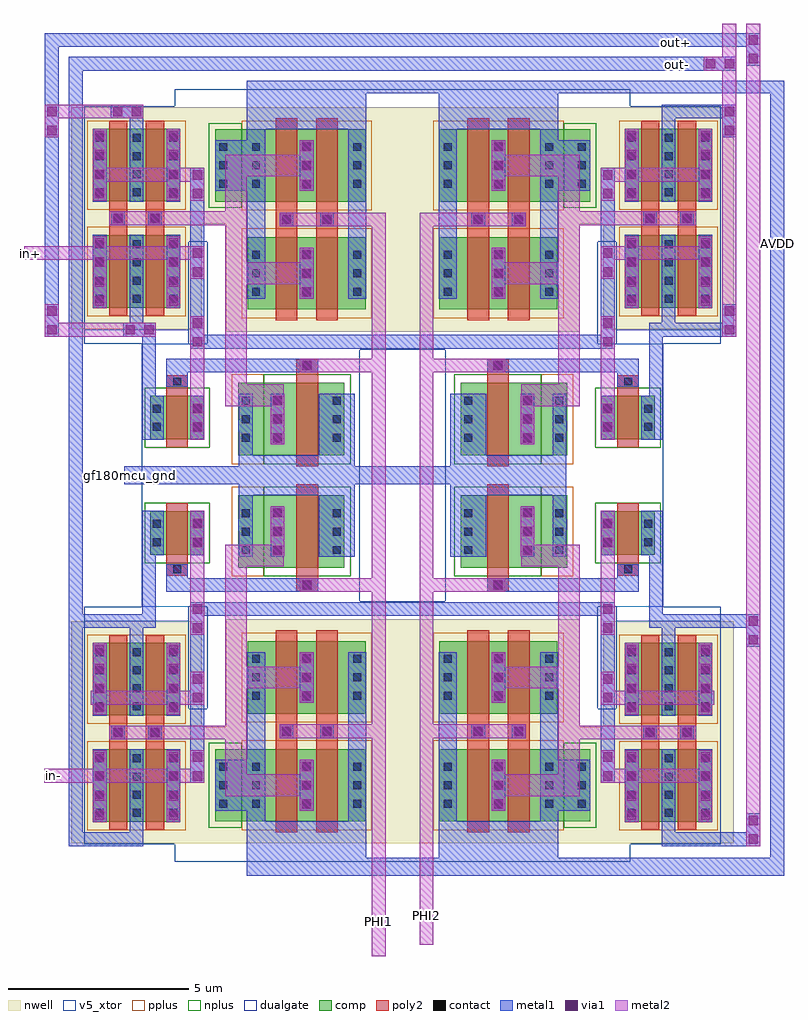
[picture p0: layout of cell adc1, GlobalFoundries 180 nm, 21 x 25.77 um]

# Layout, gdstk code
from math import pi, radians
import gdstk
lib = gdstk.Library(unit=1e-6, precision=5e-09)
def R(c, l, rs):  # rectangles x0, y0, x1, y1
    for r in rs: c.add(gdstk.rectangle(r[:2], r[2:], *l))
def A(c, l, x, y, w, h, nx, ny, dx, dy):  # array of equal rectangles
    R(c, l, [(x+i*dx, y+j*dy, x+i*dx+w, y+j*dy+h) for i in range(nx) for j in range(ny)])
nwell = (21, 0)
comp = (22, 0)
poly2 = (30, 0)
pplus = (31, 0)
nplus = (32, 0)
contact = (33, 0)
metal1 = (34, 0)
via1 = (35, 0)
metal2 = (36, 0)
dualgate = (55, 0)
v5_xtor = (112, 1)

pfet_2_14 = lib.new_cell('pfet$2$14')
R(pfet_2_14, nwell, [(-1.07,-0.61,3.41,2.61)])
R(pfet_2_14, comp, [(-0.46,0,0,2), (0,0,2.34,2), (2.34,0,2.8,2)])
R(pfet_2_14, poly2, [(0.31,-0.68,0.91,-0.3), (1.43,-0.68,2.03,-0.3), (0.31,-0.3,0.91,2.3), (1.43,-0.3,2.03,2.3)])
R(pfet_2_14, pplus, [(-0.63,-0.24,2.97,2.24)])
A(pfet_2_14, contact, -0.34, 0.38, 0.22, 0.22, 3, 3, 1.4, 0.51)
R(pfet_2_14, contact, [(0.5,-0.6,0.72,-0.38), (1.62,-0.6,1.84,-0.38)])
A(pfet_2_14, metal1, -0.42, 0.3, 0.38, 1.4, 3, 1, 1.4, 0)
R(pfet_2_14, metal1, [(0.42,-0.68,0.8,-0.3), (1.54,-0.68,1.92,-0.3)])
R(pfet_2_14, dualgate, [(-1.57,-1.11,3.91,3.11), (-0.88,-1.09,3.22,2.71)])
R(pfet_2_14, v5_xtor, [(-1.57,-1.11,3.91,3.11), (-0.88,-1.09,3.22,2.71)])

nfet_4_9 = lib.new_cell('nfet$4$9')
R(nfet_4_9, comp, [(-0.435,-0.66,-0.015,1.34), (-0.015,-0.66,1.205,1.34), (1.205,-0.66,1.625,1.34)])
R(nfet_4_9, poly2, [(0.295,-0.96,0.895,1.64), (0.295,1.64,0.895,2)])
R(nfet_4_9, nplus, [(-0.605,-0.9,1.795,1.58)])
A(nfet_4_9, contact, -0.335, -0.28, 0.22, 0.22, 1, 3, 0, 0.51)
A(nfet_4_9, contact, 1.305, -0.28, 0.22, 0.22, 1, 3, 0, 0.51)
R(nfet_4_9, contact, [(0.485,1.71,0.705,1.93)])
R(nfet_4_9, metal1, [(-0.415,-0.36,-0.035,1.04), (1.225,-0.36,1.605,1.04), (-2.84,2.29,3.82,2.67)])
R(nfet_4_9, dualgate, [(-0.855,-1.37,2.045,2.42)])
R(nfet_4_9, v5_xtor, [(-0.855,-1.37,5.165,2.42)])

pfet_3_2_6 = lib.new_cell('pfet$3$2$6')
R(pfet_3_2_6, nwell, [(-0.6,-0.6,1.98,2.6)])
R(pfet_3_2_6, comp, [(0,0,1.38,2)])
R(pfet_3_2_6, poly2, [(0.44,-0.22,0.94,2.22)])
R(pfet_3_2_6, pplus, [(-0.16,-0.23,1.54,2.23)])
A(pfet_3_2_6, contact, 0.07, 0.14, 0.22, 0.22, 1, 4, 0, 0.5)
A(pfet_3_2_6, contact, 1.09, 0.14, 0.22, 0.22, 1, 4, 0, 0.5)
R(pfet_3_2_6, metal1, [(-0.01,-0.01,0.37,2.01), (1.01,-0.01,1.39,2.01)])
R(pfet_3_2_6, dualgate, [(-0.24,-0.62,1.62,2.62)])
R(pfet_3_2_6, v5_xtor, [(-0.24,-0.62,1.62,2.62)])

nfet_2_2_5 = lib.new_cell('nfet$2$2$5')
R(nfet_2_2_5, comp, [(0,0,1.48,1.2)])
R(nfet_2_2_5, poly2, [(0.44,-0.22,1.04,1.42)])
R(nfet_2_2_5, nplus, [(-0.16,-0.23,1.64,1.43)])
R(nfet_2_2_5, contact, [(0.07,0.24,0.29,0.46), (1.19,0.24,1.41,0.46), (0.07,0.74,0.29,0.96), (1.19,0.74,1.41,0.96)])
R(nfet_2_2_5, metal1, [(-0.01,-0.01,0.37,1.21), (1.11,-0.01,1.49,1.21)])
R(nfet_2_2_5, dualgate, [(-0.24,-0.62,1.72,1.82)])
R(nfet_2_2_5, v5_xtor, [(-0.24,-0.62,1.72,1.82)])

rrao_cic_bms_afe_iadc_tg = lib.new_cell('rrao_cic_bms_afe_iadc_tg_switch$2$5')
R(rrao_cic_bms_afe_iadc_tg, nwell, [(-10.645,-4.88,-9.645,-1.66), (-10.645,-4.88,-9.645,-1.66)])
R(rrao_cic_bms_afe_iadc_tg, comp, [(-11.87,-11.28,-10.99,-9.28), (-11.255,-4.27,-10.355,-2.27), (-11.255,-4.27,-10.355,-2.27)])
R(rrao_cic_bms_afe_iadc_tg, poly2, [(-9.605,-9.42,-9.005,-9.06), (-8.945,-4.98,-8.445,-4.48), (-7.925,-4.98,-7.425,-4.48)])
R(rrao_cic_bms_afe_iadc_tg, pplus, [(-11.7,-11.52,-10.82,-9.04)])
R(rrao_cic_bms_afe_iadc_tg, nplus, [(-11.085,-4.44,-10.185,-2.1), (-11.085,-4.44,-10.185,-2.1)])
A(rrao_cic_bms_afe_iadc_tg, contact, -11.31, -10.9, 0.22, 0.22, 1, 3, 0, 0.51)
R(rrao_cic_bms_afe_iadc_tg, contact, [(-9.415,-9.35,-9.195,-9.13), (-8.805,-4.84,-8.585,-4.62), (-8.805,-4.84,-8.585,-4.62), (-7.785,-4.84,-7.565,-4.62), (-7.785,-4.84,-7.565,-4.62), (-10.695,-3.89,-10.475,-3.67), (-10.695,-3.89,-10.475,-3.67), (-10.695,-3.38,-10.475,-3.16), (-10.695,-3.38,-10.475,-3.16), (-10.695,-2.87,-10.475,-2.65), (-10.695,-2.87,-10.475,-2.65)])
R(rrao_cic_bms_afe_iadc_tg, metal1, [(-14.22,-11.58,-13.22,-9.58), (-13.22,-11.58,-11.01,-11.28), (-11.39,-11.28,-11.01,-10.98), (-11.39,-10.98,-11.01,-9.58), (-8.72,-10.85,-8.34,-7.62), (-11.375,-10.62,-10.995,-10.32), (-9.605,-9.38,-9.005,-8.61), (-13.2,-8.99,-9.005,-8.61), (-13.6,-8.33,-12.7,-7.95), (-10.055,-8.33,-9.675,-7.43), (-10.055,-8.33,-9.675,-3.89), (-8.72,-8,-6.315,-7.62), (-8.375,-7.995,-7.995,-5.19), (-14.535,-6.95,-14.035,-1.27), (-14.535,-6.95,-14.035,-1.27), (-11.735,-6.95,-11.235,-1.27), (-11.735,-6.95,-11.235,-1.27), (-10.055,-6.4,-9.675,-5.5), (-8.885,-4.92,-8.505,-4.54), (-8.885,-4.92,-8.505,-4.54), (-7.865,-4.92,-7.485,-4.54), (-7.865,-4.92,-7.485,-4.54), (-8.375,-4.27,-7.995,-1.59), (-10.055,-4.24,-9.675,-3.34), (-11.235,-3.97,-10.355,-2.57), (-11.235,-3.97,-10.355,-2.57), (-14.535,-2.27,-11.235,-1.27), (-14.535,-2.27,-11.235,-1.27), (-8.375,-1.97,-6.315,-1.59)])
A(rrao_cic_bms_afe_iadc_tg, via1, -12.21, -10.93, 0.26, 0.26, 1, 3, 0, 0.52)
R(rrao_cic_bms_afe_iadc_tg, via1, [(-10,-10.63,-9.74,-10.37), (-10,-10.11,-9.74,-9.85), (-13.03,-8.93,-12.77,-8.67), (-9.995,-8.27,-9.735,-8.01), (-9.995,-7.75,-9.735,-7.49), (-9.335,-7.15,-9.075,-6.89), (-7.295,-7.15,-7.035,-6.89), (-13.015,-6.9,-12.755,-6.64), (-13.015,-6.9,-12.755,-6.64), (-9.335,-6.62,-9.075,-6.36), (-7.295,-6.62,-7.035,-6.36), (-13.015,-6.38,-12.755,-6.12), (-13.015,-6.38,-12.755,-6.12), (-9.995,-6.34,-9.735,-6.08), (-9.335,-6.07,-9.075,-5.81), (-7.295,-6.07,-7.035,-5.81), (-13.015,-5.86,-12.755,-5.6), (-13.015,-5.86,-12.755,-5.6), (-9.995,-5.82,-9.735,-5.56), (-9.335,-5.54,-9.075,-5.28), (-7.295,-5.54,-7.035,-5.28), (-13.575,-4.89,-13.315,-4.63), (-13.575,-4.89,-13.315,-4.63), (-12.455,-4.89,-12.195,-4.63), (-12.455,-4.89,-12.195,-4.63), (-8.825,-4.86,-8.565,-4.6), (-7.805,-4.86,-7.545,-4.6), (-9.995,-4.18,-9.735,-3.92), (-9.335,-4.18,-9.075,-3.92), (-7.295,-4.18,-7.035,-3.92), (-13.015,-3.92,-12.755,-3.66), (-13.015,-3.92,-12.755,-3.66), (-9.995,-3.66,-9.735,-3.4), (-9.335,-3.65,-9.075,-3.39), (-7.295,-3.65,-7.035,-3.39), (-13.015,-3.4,-12.755,-3.14), (-13.015,-3.4,-12.755,-3.14), (-9.335,-3.1,-9.075,-2.84), (-7.295,-3.1,-7.035,-2.84), (-13.015,-2.88,-12.755,-2.62), (-13.015,-2.88,-12.755,-2.62), (-9.335,-2.57,-9.075,-2.31), (-7.295,-2.57,-7.035,-2.31)])
R(rrao_cic_bms_afe_iadc_tg, metal2, [(-12.27,-10.98,-11.89,-9.58), (-10.055,-10.85,-9.675,-7.95), (-12.255,-9.92,-10.635,-9.32), (-11.235,-9.92,-10.635,-2.97), (-11.235,-9.92,-10.635,-2.97), (-15.065,-8.99,-12.695,-8.61), (-15.065,-8.99,-14.685,-4.57), (-15.065,-8.33,-14.685,-4.57), (-10.055,-8.33,-9.675,-7.43), (-6.695,-8,-6.315,0.645), (-9.395,-7.21,-9.015,-5.22), (-7.355,-7.21,-6.975,-5.22), (-13.075,-6.95,-12.695,-5.55), (-13.075,-6.95,-12.695,-5.55), (-13.075,-6.55,-10.635,-5.95), (-13.075,-6.55,-10.635,-5.95), (-10.055,-6.4,-9.675,-5.5), (-10.005,-5.88,-6.975,-5.5), (-15.065,-4.95,-12.135,-4.57), (-15.065,-4.95,-12.135,-4.57), (-15.065,-4.95,-12.135,-4.57), (-15.065,-4.95,-12.135,-4.57), (-11.235,-4.92,-7.425,-4.54), (-10.055,-4.24,-9.675,-3.34), (-9.395,-4.24,-9.015,-2.25), (-7.355,-4.24,-6.975,-2.25), (-13.075,-3.97,-12.695,-2.57), (-13.075,-3.97,-12.695,-2.57), (-10.055,-3.72,-6.975,-3.34), (-13.075,-3.57,-10.635,-2.97), (-13.075,-3.57,-10.635,-2.97)])
R(rrao_cic_bms_afe_iadc_tg, dualgate, [(-11.45,-11.99,-10.16,-9.02), (-11.45,-11.99,-8.33,-8.2), (-11.435,-11.33,-10.145,-8.36), (-9.625,-8.2,-6.745,-7.82), (-10.145,-5.38,-9.245,-1.16), (-10.145,-5.38,-9.245,-1.16)])
R(rrao_cic_bms_afe_iadc_tg, v5_xtor, [(-11.45,-11.99,-10.16,-9.02), (-11.435,-11.33,-10.145,-8.36), (-10.145,-5.38,-9.245,-1.16), (-10.145,-5.38,-9.245,-1.16)])
rrao_cic_bms_afe_iadc_tg.add(gdstk.Reference(pfet_2_14, (-14.055,-5.25), x_reflection=True))
rrao_cic_bms_afe_iadc_tg.add(gdstk.Reference(pfet_2_14, (-14.055,-4.27)))
rrao_cic_bms_afe_iadc_tg.add(gdstk.Reference(nfet_4_9, (-13.495,-10.62)))
rrao_cic_bms_afe_iadc_tg.add(gdstk.Reference(pfet_3_2_6, (-9.385,-7.2)))
rrao_cic_bms_afe_iadc_tg.add(gdstk.Reference(pfet_3_2_6, (-8.365,-7.2)))
rrao_cic_bms_afe_iadc_tg.add(gdstk.Reference(pfet_3_2_6, (-9.385,-4.26)))
rrao_cic_bms_afe_iadc_tg.add(gdstk.Reference(pfet_3_2_6, (-8.365,-4.26)))
rrao_cic_bms_afe_iadc_tg.add(gdstk.Reference(nfet_2_2_5, (-10.045,-10.84)))

pfet_4_13 = lib.new_cell('pfet$4$13')
R(pfet_4_13, nwell, [(-1.07,-0.61,3.41,2.61)])
R(pfet_4_13, comp, [(-0.46,0,0,2), (0,0,2.34,2), (2.34,0,2.8,2)])
R(pfet_4_13, poly2, [(0.31,-0.68,0.91,-0.3), (1.43,-0.68,2.03,-0.3), (0.31,-0.3,0.91,2.3), (1.43,-0.3,2.03,2.3)])
R(pfet_4_13, pplus, [(-0.63,-0.24,2.97,2.24)])
A(pfet_4_13, contact, -0.34, 0.38, 0.22, 0.22, 3, 3, 1.4, 0.51)
R(pfet_4_13, contact, [(0.5,-0.6,0.72,-0.38), (1.62,-0.6,1.84,-0.38)])
A(pfet_4_13, metal1, -0.42, 0.3, 0.38, 1.4, 3, 1, 1.4, 0)
R(pfet_4_13, metal1, [(0.42,-0.68,0.8,-0.3), (1.54,-0.68,1.92,-0.3)])
R(pfet_4_13, dualgate, [(-1.57,-1.11,3.91,3.11), (-0.88,-1.09,3.22,2.71)])
R(pfet_4_13, v5_xtor, [(-1.57,-1.11,3.91,3.11), (-0.88,-1.09,3.22,2.71)])

nfet_5_7 = lib.new_cell('nfet$5$7')
R(nfet_5_7, comp, [(-0.435,-0.66,-0.015,1.34), (-0.015,-0.66,1.205,1.34), (1.205,-0.66,1.625,1.34)])
R(nfet_5_7, poly2, [(0.295,-0.96,0.895,1.64), (0.295,1.64,0.895,2)])
R(nfet_5_7, nplus, [(-0.605,-0.9,1.795,1.58)])
A(nfet_5_7, contact, -0.335, -0.28, 0.22, 0.22, 1, 3, 0, 0.51)
A(nfet_5_7, contact, 1.305, -0.28, 0.22, 0.22, 1, 3, 0, 0.51)
R(nfet_5_7, contact, [(0.485,1.71,0.705,1.93)])
R(nfet_5_7, metal1, [(-0.415,-0.36,-0.035,1.04), (1.225,-0.36,1.605,1.04), (-2.84,2.29,3.82,2.67)])
R(nfet_5_7, dualgate, [(-0.855,-1.37,2.045,2.42)])
R(nfet_5_7, v5_xtor, [(-0.855,-1.37,5.165,2.42)])

pfet_3_3_5 = lib.new_cell('pfet$3$3$5')
R(pfet_3_3_5, nwell, [(-0.6,-0.6,1.98,2.6)])
R(pfet_3_3_5, comp, [(0,0,1.38,2)])
R(pfet_3_3_5, poly2, [(0.44,-0.22,0.94,2.22)])
R(pfet_3_3_5, pplus, [(-0.16,-0.23,1.54,2.23)])
A(pfet_3_3_5, contact, 0.07, 0.14, 0.22, 0.22, 1, 4, 0, 0.5)
A(pfet_3_3_5, contact, 1.09, 0.14, 0.22, 0.22, 1, 4, 0, 0.5)
R(pfet_3_3_5, metal1, [(-0.01,-0.01,0.37,2.01), (1.01,-0.01,1.39,2.01)])
R(pfet_3_3_5, dualgate, [(-0.24,-0.62,1.62,2.62)])
R(pfet_3_3_5, v5_xtor, [(-0.24,-0.62,1.62,2.62)])

nfet_2_3_6 = lib.new_cell('nfet$2$3$6')
R(nfet_2_3_6, comp, [(0,0,1.48,1.2)])
R(nfet_2_3_6, poly2, [(0.44,-0.22,1.04,1.42)])
R(nfet_2_3_6, nplus, [(-0.16,-0.23,1.64,1.43)])
R(nfet_2_3_6, contact, [(0.07,0.24,0.29,0.46), (1.19,0.24,1.41,0.46), (0.07,0.74,0.29,0.96), (1.19,0.74,1.41,0.96)])
R(nfet_2_3_6, metal1, [(-0.01,-0.01,0.37,1.21), (1.11,-0.01,1.49,1.21)])
R(nfet_2_3_6, dualgate, [(-0.24,-0.62,1.72,1.82)])
R(nfet_2_3_6, v5_xtor, [(-0.24,-0.62,1.72,1.82)])

c_rrao_cic_bms_afe_iadc_tg = lib.new_cell('rrao_cic_bms_afe_iadc_tg_switch$3$5')
R(c_rrao_cic_bms_afe_iadc_tg, nwell, [(-10.645,-4.88,-9.645,-1.66), (-10.645,-4.88,-9.645,-1.66)])
R(c_rrao_cic_bms_afe_iadc_tg, comp, [(-11.87,-11.28,-10.99,-9.28), (-11.255,-4.27,-10.355,-2.27), (-11.255,-4.27,-10.355,-2.27)])
R(c_rrao_cic_bms_afe_iadc_tg, poly2, [(-9.605,-9.42,-9.005,-9.06), (-8.945,-4.98,-8.445,-4.48), (-7.925,-4.98,-7.425,-4.48)])
R(c_rrao_cic_bms_afe_iadc_tg, pplus, [(-11.7,-11.52,-10.82,-9.04)])
R(c_rrao_cic_bms_afe_iadc_tg, nplus, [(-11.085,-4.44,-10.185,-2.1), (-11.085,-4.44,-10.185,-2.1)])
A(c_rrao_cic_bms_afe_iadc_tg, contact, -11.31, -10.9, 0.22, 0.22, 1, 3, 0, 0.51)
R(c_rrao_cic_bms_afe_iadc_tg, contact, [(-9.415,-9.35,-9.195,-9.13), (-8.805,-4.84,-8.585,-4.62), (-8.805,-4.84,-8.585,-4.62), (-7.785,-4.84,-7.565,-4.62), (-7.785,-4.84,-7.565,-4.62), (-10.695,-3.89,-10.475,-3.67), (-10.695,-3.89,-10.475,-3.67), (-10.695,-3.38,-10.475,-3.16), (-10.695,-3.38,-10.475,-3.16), (-10.695,-2.87,-10.475,-2.65), (-10.695,-2.87,-10.475,-2.65)])
R(c_rrao_cic_bms_afe_iadc_tg, metal1, [(-14.22,-11.58,-13.22,-9.58), (-13.22,-11.58,-11.01,-11.28), (-11.39,-11.28,-11.01,-10.98), (-11.39,-10.98,-11.01,-9.58), (-8.72,-10.85,-8.34,-7.62), (-11.375,-10.62,-10.995,-10.32), (-9.605,-9.38,-9.005,-8.61), (-13.2,-8.99,-9.005,-8.61), (-13.6,-8.33,-12.7,-7.95), (-10.055,-8.33,-9.675,-7.43), (-10.055,-8.33,-9.675,-3.89), (-8.72,-8,-5.655,-7.62), (-8.375,-7.995,-7.995,-5.19), (-14.535,-6.95,-14.035,-1.27), (-14.535,-6.95,-14.035,-1.27), (-11.735,-6.95,-11.235,-1.27), (-11.735,-6.95,-11.235,-1.27), (-10.055,-6.4,-9.675,-5.5), (-8.885,-4.92,-8.505,-4.54), (-8.885,-4.92,-8.505,-4.54), (-7.865,-4.92,-7.485,-4.54), (-7.865,-4.92,-7.485,-4.54), (-8.375,-4.27,-7.995,-1.59), (-10.055,-4.24,-9.675,-3.34), (-11.235,-3.97,-10.355,-2.57), (-11.235,-3.97,-10.355,-2.57), (-14.535,-2.27,-11.235,-1.27), (-14.535,-2.27,-11.235,-1.27), (-8.375,-1.97,-5.655,-1.59)])
A(c_rrao_cic_bms_afe_iadc_tg, via1, -12.21, -10.93, 0.26, 0.26, 1, 3, 0, 0.52)
R(c_rrao_cic_bms_afe_iadc_tg, via1, [(-10,-10.63,-9.74,-10.37), (-10,-10.11,-9.74,-9.85), (-13.03,-8.93,-12.77,-8.67), (-9.995,-8.27,-9.735,-8.01), (-9.995,-7.75,-9.735,-7.49), (-9.335,-7.15,-9.075,-6.89), (-7.295,-7.15,-7.035,-6.89), (-13.015,-6.9,-12.755,-6.64), (-13.015,-6.9,-12.755,-6.64), (-9.335,-6.62,-9.075,-6.36), (-7.295,-6.62,-7.035,-6.36), (-13.015,-6.38,-12.755,-6.12), (-13.015,-6.38,-12.755,-6.12), (-9.995,-6.34,-9.735,-6.08), (-9.335,-6.07,-9.075,-5.81), (-7.295,-6.07,-7.035,-5.81), (-13.015,-5.86,-12.755,-5.6), (-13.015,-5.86,-12.755,-5.6), (-9.995,-5.82,-9.735,-5.56), (-9.335,-5.54,-9.075,-5.28), (-7.295,-5.54,-7.035,-5.28), (-13.575,-4.89,-13.315,-4.63), (-13.575,-4.89,-13.315,-4.63), (-12.455,-4.89,-12.195,-4.63), (-12.455,-4.89,-12.195,-4.63), (-8.825,-4.86,-8.565,-4.6), (-7.805,-4.86,-7.545,-4.6), (-9.995,-4.18,-9.735,-3.92), (-9.335,-4.18,-9.075,-3.92), (-7.295,-4.18,-7.035,-3.92), (-13.015,-3.92,-12.755,-3.66), (-13.015,-3.92,-12.755,-3.66), (-9.995,-3.66,-9.735,-3.4), (-9.335,-3.65,-9.075,-3.39), (-7.295,-3.65,-7.035,-3.39), (-13.015,-3.4,-12.755,-3.14), (-13.015,-3.4,-12.755,-3.14), (-9.335,-3.1,-9.075,-2.84), (-7.295,-3.1,-7.035,-2.84), (-13.015,-2.88,-12.755,-2.62), (-13.015,-2.88,-12.755,-2.62), (-9.335,-2.57,-9.075,-2.31), (-7.295,-2.57,-7.035,-2.31)])
R(c_rrao_cic_bms_afe_iadc_tg, metal2, [(-12.27,-10.98,-11.89,-9.58), (-10.055,-10.85,-9.675,-7.95), (-12.255,-9.92,-10.635,-9.32), (-11.235,-9.92,-10.635,-2.97), (-11.235,-9.92,-10.635,-2.97), (-15.065,-8.99,-12.695,-8.61), (-15.065,-8.99,-14.685,-4.57), (-15.065,-8.33,-14.685,-4.57), (-10.055,-8.33,-9.675,-7.43), (-9.395,-7.21,-9.015,-5.22), (-7.355,-7.21,-6.975,-5.22), (-13.075,-6.95,-12.695,-5.55), (-13.075,-6.95,-12.695,-5.55), (-13.075,-6.55,-10.635,-5.95), (-13.075,-6.55,-10.635,-5.95), (-10.055,-6.4,-9.675,-5.5), (-10.005,-5.88,-6.925,-5.5), (-15.065,-4.95,-12.135,-4.57), (-15.065,-4.95,-12.135,-4.57), (-15.065,-4.95,-12.135,-4.57), (-15.065,-4.95,-12.135,-4.57), (-11.235,-4.92,-7.425,-4.54), (-10.055,-4.24,-9.675,-3.34), (-9.395,-4.24,-9.015,-2.25), (-7.355,-4.24,-6.975,-2.25), (-13.075,-3.97,-12.695,-2.57), (-13.075,-3.97,-12.695,-2.57), (-10.055,-3.72,-6.975,-3.34), (-13.075,-3.57,-10.635,-2.97), (-13.075,-3.57,-10.635,-2.97)])
R(c_rrao_cic_bms_afe_iadc_tg, dualgate, [(-11.45,-11.99,-10.16,-9.02), (-11.45,-11.99,-8.33,-8.2), (-11.435,-11.33,-10.145,-8.36), (-9.625,-8.2,-6.745,-7.82), (-10.145,-5.38,-9.245,-1.16), (-10.145,-5.38,-9.245,-1.16)])
R(c_rrao_cic_bms_afe_iadc_tg, v5_xtor, [(-11.45,-11.99,-10.16,-9.02), (-11.435,-11.33,-10.145,-8.36), (-10.145,-5.38,-9.245,-1.16), (-10.145,-5.38,-9.245,-1.16)])
c_rrao_cic_bms_afe_iadc_tg.add(gdstk.Reference(pfet_4_13, (-14.055,-5.25), x_reflection=True))
c_rrao_cic_bms_afe_iadc_tg.add(gdstk.Reference(pfet_4_13, (-14.055,-4.27)))
c_rrao_cic_bms_afe_iadc_tg.add(gdstk.Reference(nfet_5_7, (-13.495,-10.62)))
c_rrao_cic_bms_afe_iadc_tg.add(gdstk.Reference(pfet_3_3_5, (-9.385,-7.2)))
c_rrao_cic_bms_afe_iadc_tg.add(gdstk.Reference(pfet_3_3_5, (-8.365,-7.2)))
c_rrao_cic_bms_afe_iadc_tg.add(gdstk.Reference(pfet_3_3_5, (-9.385,-4.26)))
c_rrao_cic_bms_afe_iadc_tg.add(gdstk.Reference(pfet_3_3_5, (-8.365,-4.26)))
c_rrao_cic_bms_afe_iadc_tg.add(gdstk.Reference(nfet_2_3_6, (-10.045,-10.84)))

pfet_1_12 = lib.new_cell('pfet$1$12')
R(pfet_1_12, nwell, [(-1.07,-0.61,3.41,2.61)])
R(pfet_1_12, comp, [(-0.46,0,0,2), (0,0,2.34,2), (2.34,0,2.8,2)])
R(pfet_1_12, poly2, [(0.31,-0.68,0.91,-0.3), (1.43,-0.68,2.03,-0.3), (0.31,-0.3,0.91,2.3), (1.43,-0.3,2.03,2.3)])
R(pfet_1_12, pplus, [(-0.63,-0.24,2.97,2.24)])
A(pfet_1_12, contact, -0.34, 0.38, 0.22, 0.22, 3, 3, 1.4, 0.51)
R(pfet_1_12, contact, [(0.5,-0.6,0.72,-0.38), (1.62,-0.6,1.84,-0.38)])
A(pfet_1_12, metal1, -0.42, 0.3, 0.38, 1.4, 3, 1, 1.4, 0)
R(pfet_1_12, metal1, [(0.42,-0.68,0.8,-0.3), (1.54,-0.68,1.92,-0.3)])
R(pfet_1_12, dualgate, [(-1.57,-1.11,3.91,3.11), (-0.88,-1.09,3.22,2.71)])
R(pfet_1_12, v5_xtor, [(-1.57,-1.11,3.91,3.11), (-0.88,-1.09,3.22,2.71)])

nfet_3_14 = lib.new_cell('nfet$3$14')
R(nfet_3_14, comp, [(-0.435,-0.66,-0.015,1.34), (-0.015,-0.66,1.205,1.34), (1.205,-0.66,1.625,1.34)])
R(nfet_3_14, poly2, [(0.295,-0.96,0.895,1.64), (0.295,1.64,0.895,2)])
R(nfet_3_14, nplus, [(-0.605,-0.9,1.795,1.58)])
A(nfet_3_14, contact, -0.335, -0.28, 0.22, 0.22, 1, 3, 0, 0.51)
A(nfet_3_14, contact, 1.305, -0.28, 0.22, 0.22, 1, 3, 0, 0.51)
R(nfet_3_14, contact, [(0.485,1.71,0.705,1.93)])
R(nfet_3_14, metal1, [(-0.415,-0.36,-0.035,1.04), (1.225,-0.36,1.605,1.04), (-2.84,2.29,3.82,2.67)])
R(nfet_3_14, dualgate, [(-0.855,-1.37,2.045,2.42)])
R(nfet_3_14, v5_xtor, [(-0.855,-1.37,5.165,2.42)])

pfet_3_1_8 = lib.new_cell('pfet$3$1$8')
R(pfet_3_1_8, nwell, [(-0.6,-0.6,1.98,2.6)])
R(pfet_3_1_8, comp, [(0,0,1.38,2)])
R(pfet_3_1_8, poly2, [(0.44,-0.22,0.94,2.22)])
R(pfet_3_1_8, pplus, [(-0.16,-0.23,1.54,2.23)])
A(pfet_3_1_8, contact, 0.07, 0.14, 0.22, 0.22, 1, 4, 0, 0.5)
A(pfet_3_1_8, contact, 1.09, 0.14, 0.22, 0.22, 1, 4, 0, 0.5)
R(pfet_3_1_8, metal1, [(-0.01,-0.01,0.37,2.01), (1.01,-0.01,1.39,2.01)])
R(pfet_3_1_8, dualgate, [(-0.24,-0.62,1.62,2.62)])
R(pfet_3_1_8, v5_xtor, [(-0.24,-0.62,1.62,2.62)])

nfet_2_1_7 = lib.new_cell('nfet$2$1$7')
R(nfet_2_1_7, comp, [(0,0,1.48,1.2)])
R(nfet_2_1_7, poly2, [(0.44,-0.22,1.04,1.42)])
R(nfet_2_1_7, nplus, [(-0.16,-0.23,1.64,1.43)])
R(nfet_2_1_7, contact, [(0.07,0.24,0.29,0.46), (1.19,0.24,1.41,0.46), (0.07,0.74,0.29,0.96), (1.19,0.74,1.41,0.96)])
R(nfet_2_1_7, metal1, [(-0.01,-0.01,0.37,1.21), (1.11,-0.01,1.49,1.21)])
R(nfet_2_1_7, dualgate, [(-0.24,-0.62,1.72,1.82)])
R(nfet_2_1_7, v5_xtor, [(-0.24,-0.62,1.72,1.82)])

c_rrao_cic_bms_afe_iadc_tg_ = lib.new_cell('rrao_cic_bms_afe_iadc_tg_switch$1$6')
R(c_rrao_cic_bms_afe_iadc_tg_, nwell, [(-10.645,-4.88,-9.645,-1.66), (-10.645,-4.88,-9.645,-1.66)])
R(c_rrao_cic_bms_afe_iadc_tg_, comp, [(-11.87,-11.28,-10.99,-9.28), (-11.255,-4.27,-10.355,-2.27), (-11.255,-4.27,-10.355,-2.27)])
R(c_rrao_cic_bms_afe_iadc_tg_, poly2, [(-9.605,-9.42,-9.005,-9.06), (-8.945,-4.98,-8.445,-4.48), (-7.925,-4.98,-7.425,-4.48)])
R(c_rrao_cic_bms_afe_iadc_tg_, pplus, [(-11.7,-11.52,-10.82,-9.04)])
R(c_rrao_cic_bms_afe_iadc_tg_, nplus, [(-11.085,-4.44,-10.185,-2.1), (-11.085,-4.44,-10.185,-2.1)])
A(c_rrao_cic_bms_afe_iadc_tg_, contact, -11.31, -10.9, 0.22, 0.22, 1, 3, 0, 0.51)
R(c_rrao_cic_bms_afe_iadc_tg_, contact, [(-9.415,-9.35,-9.195,-9.13), (-8.805,-4.84,-8.585,-4.62), (-8.805,-4.84,-8.585,-4.62), (-7.785,-4.84,-7.565,-4.62), (-7.785,-4.84,-7.565,-4.62), (-10.695,-3.89,-10.475,-3.67), (-10.695,-3.89,-10.475,-3.67), (-10.695,-3.38,-10.475,-3.16), (-10.695,-3.38,-10.475,-3.16), (-10.695,-2.87,-10.475,-2.65), (-10.695,-2.87,-10.475,-2.65)])
R(c_rrao_cic_bms_afe_iadc_tg_, metal1, [(-14.22,-11.58,-13.22,-9.58), (-13.22,-11.58,-11.01,-11.28), (-11.39,-11.28,-11.01,-10.98), (-11.39,-10.98,-11.01,-9.58), (-8.72,-10.85,-8.34,-7.62), (-11.375,-10.62,-10.995,-10.32), (-9.605,-9.38,-9.005,-8.61), (-13.2,-8.99,-9.005,-8.61), (-13.6,-8.33,-12.7,-7.95), (-10.055,-8.33,-9.675,-7.43), (-10.055,-8.33,-9.675,-3.89), (-8.375,-8,-7.995,-5.19), (-14.535,-6.95,-14.035,-1.27), (-14.535,-6.95,-14.035,-1.27), (-11.735,-6.95,-11.235,-1.27), (-11.735,-6.95,-11.235,-1.27), (-10.055,-6.4,-9.675,-5.5), (-8.885,-4.92,-8.505,-4.54), (-8.885,-4.92,-8.505,-4.54), (-7.865,-4.92,-7.485,-4.54), (-7.865,-4.92,-7.485,-4.54), (-8.375,-4.27,-7.995,-1.59), (-10.055,-4.24,-9.675,-3.34), (-11.235,-3.97,-10.355,-2.57), (-11.235,-3.97,-10.355,-2.57), (-14.535,-2.27,-11.235,-1.27), (-14.535,-2.27,-11.235,-1.27)])
A(c_rrao_cic_bms_afe_iadc_tg_, via1, -12.21, -10.93, 0.26, 0.26, 1, 3, 0, 0.52)
R(c_rrao_cic_bms_afe_iadc_tg_, via1, [(-10,-10.63,-9.74,-10.37), (-10,-10.11,-9.74,-9.85), (-13.03,-8.93,-12.77,-8.67), (-9.995,-8.27,-9.735,-8.01), (-9.995,-7.75,-9.735,-7.49), (-9.335,-7.15,-9.075,-6.89), (-7.295,-7.15,-7.035,-6.89), (-13.015,-6.9,-12.755,-6.64), (-13.015,-6.9,-12.755,-6.64), (-9.335,-6.62,-9.075,-6.36), (-7.295,-6.62,-7.035,-6.36), (-13.015,-6.38,-12.755,-6.12), (-13.015,-6.38,-12.755,-6.12), (-9.995,-6.34,-9.735,-6.08), (-9.335,-6.07,-9.075,-5.81), (-7.295,-6.07,-7.035,-5.81), (-13.015,-5.86,-12.755,-5.6), (-13.015,-5.86,-12.755,-5.6), (-9.995,-5.82,-9.735,-5.56), (-9.335,-5.54,-9.075,-5.28), (-7.295,-5.54,-7.035,-5.28), (-13.575,-4.89,-13.315,-4.63), (-13.575,-4.89,-13.315,-4.63), (-12.455,-4.89,-12.195,-4.63), (-12.455,-4.89,-12.195,-4.63), (-8.825,-4.86,-8.565,-4.6), (-7.805,-4.86,-7.545,-4.6), (-9.995,-4.18,-9.735,-3.92), (-9.335,-4.18,-9.075,-3.92), (-7.295,-4.18,-7.035,-3.92), (-13.015,-3.92,-12.755,-3.66), (-13.015,-3.92,-12.755,-3.66), (-9.995,-3.66,-9.735,-3.4), (-9.335,-3.65,-9.075,-3.39), (-7.295,-3.65,-7.035,-3.39), (-13.015,-3.4,-12.755,-3.14), (-13.015,-3.4,-12.755,-3.14), (-9.335,-3.1,-9.075,-2.84), (-7.295,-3.1,-7.035,-2.84), (-13.015,-2.88,-12.755,-2.62), (-13.015,-2.88,-12.755,-2.62), (-9.335,-2.57,-9.075,-2.31), (-7.295,-2.57,-7.035,-2.31)])
R(c_rrao_cic_bms_afe_iadc_tg_, metal2, [(-12.27,-10.98,-11.89,-9.58), (-10.055,-10.85,-9.675,-7.95), (-12.255,-9.92,-10.635,-9.32), (-11.235,-9.92,-10.635,-2.97), (-11.235,-9.92,-10.635,-2.97), (-15.065,-8.99,-12.695,-8.61), (-15.065,-8.99,-14.685,-4.57), (-15.065,-8.33,-14.685,-4.57), (-10.055,-8.33,-9.675,-7.43), (-8.72,-8,-5.655,-7.62), (-9.395,-7.21,-9.015,-5.22), (-7.355,-7.21,-6.975,-5.22), (-13.075,-6.95,-12.695,-5.55), (-13.075,-6.95,-12.695,-5.55), (-13.075,-6.55,-10.635,-5.95), (-13.075,-6.55,-10.635,-5.95), (-10.055,-6.4,-9.675,-5.5), (-10.005,-5.88,-5.075,-5.5), (-15.065,-4.95,-12.135,-4.57), (-15.065,-4.95,-12.135,-4.57), (-15.065,-4.95,-12.135,-4.57), (-15.065,-4.95,-12.135,-4.57), (-11.235,-4.92,-7.425,-4.54), (-10.055,-4.24,-9.675,-3.34), (-9.395,-4.24,-9.015,-2.25), (-7.355,-4.24,-6.975,-2.25), (-13.075,-3.97,-12.695,-2.57), (-13.075,-3.97,-12.695,-2.57), (-10.055,-3.72,-6.975,-3.34), (-13.075,-3.57,-10.635,-2.97), (-13.075,-3.57,-10.635,-2.97), (-8.375,-1.97,-5.655,-1.59)])
R(c_rrao_cic_bms_afe_iadc_tg_, dualgate, [(-11.45,-11.99,-10.16,-9.02), (-11.45,-11.99,-8.33,-8.2), (-11.435,-11.33,-10.145,-8.36), (-9.625,-8.2,-6.745,-7.82), (-10.145,-5.38,-9.245,-1.16), (-10.145,-5.38,-9.245,-1.16)])
R(c_rrao_cic_bms_afe_iadc_tg_, v5_xtor, [(-11.45,-11.99,-10.16,-9.02), (-11.435,-11.33,-10.145,-8.36), (-10.145,-5.38,-9.245,-1.16), (-10.145,-5.38,-9.245,-1.16)])
c_rrao_cic_bms_afe_iadc_tg_.add(gdstk.Reference(pfet_1_12, (-14.055,-5.25), x_reflection=True))
c_rrao_cic_bms_afe_iadc_tg_.add(gdstk.Reference(pfet_1_12, (-14.055,-4.27)))
c_rrao_cic_bms_afe_iadc_tg_.add(gdstk.Reference(nfet_3_14, (-13.495,-10.62)))
c_rrao_cic_bms_afe_iadc_tg_.add(gdstk.Reference(pfet_3_1_8, (-9.385,-7.2)))
c_rrao_cic_bms_afe_iadc_tg_.add(gdstk.Reference(pfet_3_1_8, (-8.365,-7.2)))
c_rrao_cic_bms_afe_iadc_tg_.add(gdstk.Reference(pfet_3_1_8, (-9.385,-4.26)))
c_rrao_cic_bms_afe_iadc_tg_.add(gdstk.Reference(pfet_3_1_8, (-8.365,-4.26)))
c_rrao_cic_bms_afe_iadc_tg_.add(gdstk.Reference(nfet_2_1_7, (-10.045,-10.84)))

pfet_5_6 = lib.new_cell('pfet$5$6')
R(pfet_5_6, nwell, [(-1.07,-0.61,3.41,2.61)])
R(pfet_5_6, comp, [(-0.46,0,0,2), (0,0,2.34,2), (2.34,0,2.8,2)])
R(pfet_5_6, poly2, [(0.31,-0.68,0.91,-0.3), (1.43,-0.68,2.03,-0.3), (0.31,-0.3,0.91,2.3), (1.43,-0.3,2.03,2.3)])
R(pfet_5_6, pplus, [(-0.63,-0.24,2.97,2.24)])
A(pfet_5_6, contact, -0.34, 0.38, 0.22, 0.22, 3, 3, 1.4, 0.51)
R(pfet_5_6, contact, [(0.5,-0.6,0.72,-0.38), (1.62,-0.6,1.84,-0.38)])
A(pfet_5_6, metal1, -0.42, 0.3, 0.38, 1.4, 3, 1, 1.4, 0)
R(pfet_5_6, metal1, [(0.42,-0.68,0.8,-0.3), (1.54,-0.68,1.92,-0.3)])
R(pfet_5_6, dualgate, [(-1.57,-1.11,3.91,3.11), (-0.88,-1.09,3.22,2.71)])
R(pfet_5_6, v5_xtor, [(-1.57,-1.11,3.91,3.11), (-0.88,-1.09,3.22,2.71)])

nfet_6_9 = lib.new_cell('nfet$6$9')
R(nfet_6_9, comp, [(-0.435,-0.66,-0.015,1.34), (-0.015,-0.66,1.205,1.34), (1.205,-0.66,1.625,1.34)])
R(nfet_6_9, poly2, [(0.295,-0.96,0.895,1.64), (0.295,1.64,0.895,2)])
R(nfet_6_9, nplus, [(-0.605,-0.9,1.795,1.58)])
A(nfet_6_9, contact, -0.335, -0.28, 0.22, 0.22, 1, 3, 0, 0.51)
A(nfet_6_9, contact, 1.305, -0.28, 0.22, 0.22, 1, 3, 0, 0.51)
R(nfet_6_9, contact, [(0.485,1.71,0.705,1.93)])
R(nfet_6_9, metal1, [(-0.415,-0.36,-0.035,1.04), (1.225,-0.36,1.605,1.04), (-2.84,2.29,3.82,2.67)])
R(nfet_6_9, dualgate, [(-0.855,-1.37,2.045,2.42)])
R(nfet_6_9, v5_xtor, [(-0.855,-1.37,5.165,2.42)])

pfet_3_4_6 = lib.new_cell('pfet$3$4$6')
R(pfet_3_4_6, nwell, [(-0.6,-0.6,1.98,2.6)])
R(pfet_3_4_6, comp, [(0,0,1.38,2)])
R(pfet_3_4_6, poly2, [(0.44,-0.22,0.94,2.22)])
R(pfet_3_4_6, pplus, [(-0.16,-0.23,1.54,2.23)])
A(pfet_3_4_6, contact, 0.07, 0.14, 0.22, 0.22, 1, 4, 0, 0.5)
A(pfet_3_4_6, contact, 1.09, 0.14, 0.22, 0.22, 1, 4, 0, 0.5)
R(pfet_3_4_6, metal1, [(-0.01,-0.01,0.37,2.01), (1.01,-0.01,1.39,2.01)])
R(pfet_3_4_6, dualgate, [(-0.24,-0.62,1.62,2.62)])
R(pfet_3_4_6, v5_xtor, [(-0.24,-0.62,1.62,2.62)])

nfet_2_4_5 = lib.new_cell('nfet$2$4$5')
R(nfet_2_4_5, comp, [(0,0,1.48,1.2)])
R(nfet_2_4_5, poly2, [(0.44,-0.22,1.04,1.42)])
R(nfet_2_4_5, nplus, [(-0.16,-0.23,1.64,1.43)])
R(nfet_2_4_5, contact, [(0.07,0.24,0.29,0.46), (1.19,0.24,1.41,0.46), (0.07,0.74,0.29,0.96), (1.19,0.74,1.41,0.96)])
R(nfet_2_4_5, metal1, [(-0.01,-0.01,0.37,1.21), (1.11,-0.01,1.49,1.21)])
R(nfet_2_4_5, dualgate, [(-0.24,-0.62,1.72,1.82)])
R(nfet_2_4_5, v5_xtor, [(-0.24,-0.62,1.72,1.82)])

c_rrao_cic_bms_afe_iadc_tg__ = lib.new_cell('rrao_cic_bms_afe_iadc_tg_switch$4$5')
R(c_rrao_cic_bms_afe_iadc_tg__, nwell, [(-10.645,-4.88,-9.645,-1.66), (-10.645,-4.88,-9.645,-1.66)])
R(c_rrao_cic_bms_afe_iadc_tg__, comp, [(-11.87,-11.28,-10.99,-9.28), (-11.255,-4.27,-10.355,-2.27), (-11.255,-4.27,-10.355,-2.27)])
R(c_rrao_cic_bms_afe_iadc_tg__, poly2, [(-9.605,-9.42,-9.005,-9.06), (-8.945,-4.98,-8.445,-4.48), (-7.925,-4.98,-7.425,-4.48)])
R(c_rrao_cic_bms_afe_iadc_tg__, pplus, [(-11.7,-11.52,-10.82,-9.04)])
R(c_rrao_cic_bms_afe_iadc_tg__, nplus, [(-11.085,-4.44,-10.185,-2.1), (-11.085,-4.44,-10.185,-2.1)])
A(c_rrao_cic_bms_afe_iadc_tg__, contact, -11.31, -10.9, 0.22, 0.22, 1, 3, 0, 0.51)
R(c_rrao_cic_bms_afe_iadc_tg__, contact, [(-9.415,-9.35,-9.195,-9.13), (-8.805,-4.84,-8.585,-4.62), (-8.805,-4.84,-8.585,-4.62), (-7.785,-4.84,-7.565,-4.62), (-7.785,-4.84,-7.565,-4.62), (-10.695,-3.89,-10.475,-3.67), (-10.695,-3.89,-10.475,-3.67), (-10.695,-3.38,-10.475,-3.16), (-10.695,-3.38,-10.475,-3.16), (-10.695,-2.87,-10.475,-2.65), (-10.695,-2.87,-10.475,-2.65)])
R(c_rrao_cic_bms_afe_iadc_tg__, metal1, [(-6.695,-23.395,-6.315,-1.595), (-14.22,-11.58,-13.22,-9.58), (-13.22,-11.58,-11.01,-11.28), (-11.39,-11.28,-11.01,-10.98), (-11.39,-10.98,-11.01,-9.58), (-8.72,-10.85,-8.34,-7.62), (-11.375,-10.62,-10.995,-10.32), (-9.605,-9.38,-9.005,-8.61), (-13.2,-8.99,-9.005,-8.61), (-13.6,-8.33,-12.7,-7.95), (-10.055,-8.33,-9.675,-7.43), (-10.055,-8.33,-9.675,-3.89), (-8.72,-8,-6.315,-7.62), (-8.375,-7.995,-7.995,-5.19), (-14.535,-6.95,-14.035,-1.27), (-14.535,-6.95,-14.035,-1.27), (-11.735,-6.95,-11.235,-1.27), (-11.735,-6.95,-11.235,-1.27), (-10.055,-6.4,-9.675,-5.5), (-8.885,-4.92,-8.505,-4.54), (-8.885,-4.92,-8.505,-4.54), (-7.865,-4.92,-7.485,-4.54), (-7.865,-4.92,-7.485,-4.54), (-8.375,-4.27,-7.995,-1.59), (-10.055,-4.24,-9.675,-3.34), (-11.235,-3.97,-10.355,-2.57), (-11.235,-3.97,-10.355,-2.57), (-14.535,-2.27,-11.235,-1.27), (-14.535,-2.27,-11.235,-1.27), (-8.375,-1.97,-6.315,-1.59)])
A(c_rrao_cic_bms_afe_iadc_tg__, via1, -12.21, -10.93, 0.26, 0.26, 1, 3, 0, 0.52)
R(c_rrao_cic_bms_afe_iadc_tg__, via1, [(-10,-10.63,-9.74,-10.37), (-10,-10.11,-9.74,-9.85), (-13.03,-8.93,-12.77,-8.67), (-9.995,-8.27,-9.735,-8.01), (-9.995,-7.75,-9.735,-7.49), (-9.335,-7.15,-9.075,-6.89), (-7.295,-7.15,-7.035,-6.89), (-13.015,-6.9,-12.755,-6.64), (-13.015,-6.9,-12.755,-6.64), (-9.335,-6.62,-9.075,-6.36), (-7.295,-6.62,-7.035,-6.36), (-13.015,-6.38,-12.755,-6.12), (-13.015,-6.38,-12.755,-6.12), (-9.995,-6.34,-9.735,-6.08), (-9.335,-6.07,-9.075,-5.81), (-7.295,-6.07,-7.035,-5.81), (-13.015,-5.86,-12.755,-5.6), (-13.015,-5.86,-12.755,-5.6), (-9.995,-5.82,-9.735,-5.56), (-9.335,-5.54,-9.075,-5.28), (-7.295,-5.54,-7.035,-5.28), (-13.575,-4.89,-13.315,-4.63), (-13.575,-4.89,-13.315,-4.63), (-12.455,-4.89,-12.195,-4.63), (-12.455,-4.89,-12.195,-4.63), (-8.825,-4.86,-8.565,-4.6), (-7.805,-4.86,-7.545,-4.6), (-9.995,-4.18,-9.735,-3.92), (-9.335,-4.18,-9.075,-3.92), (-7.295,-4.18,-7.035,-3.92), (-13.015,-3.92,-12.755,-3.66), (-13.015,-3.92,-12.755,-3.66), (-9.995,-3.66,-9.735,-3.4), (-9.335,-3.65,-9.075,-3.39), (-7.295,-3.65,-7.035,-3.39), (-13.015,-3.4,-12.755,-3.14), (-13.015,-3.4,-12.755,-3.14), (-9.335,-3.1,-9.075,-2.84), (-7.295,-3.1,-7.035,-2.84), (-13.015,-2.88,-12.755,-2.62), (-13.015,-2.88,-12.755,-2.62), (-9.335,-2.57,-9.075,-2.31), (-7.295,-2.57,-7.035,-2.31)])
R(c_rrao_cic_bms_afe_iadc_tg__, metal2, [(-12.27,-10.98,-11.89,-9.58), (-10.055,-10.85,-9.675,-7.95), (-12.255,-9.92,-10.635,-9.32), (-11.235,-9.92,-10.635,-2.97), (-11.235,-9.92,-10.635,-2.97), (-15.065,-8.99,-12.695,-8.61), (-15.065,-8.99,-14.685,-4.57), (-15.065,-8.33,-14.685,-4.57), (-10.055,-8.33,-9.675,-7.43), (-9.395,-7.21,-9.015,-5.22), (-7.355,-7.21,-6.975,-5.22), (-13.075,-6.95,-12.695,-5.55), (-13.075,-6.95,-12.695,-5.55), (-13.075,-6.55,-10.635,-5.95), (-13.075,-6.55,-10.635,-5.95), (-10.055,-6.4,-9.675,-5.5), (-10.005,-5.88,-6.925,-5.5), (-15.065,-4.95,-12.135,-4.57), (-15.065,-4.95,-12.135,-4.57), (-15.065,-4.95,-12.135,-4.57), (-15.065,-4.95,-12.135,-4.57), (-11.235,-4.92,-7.425,-4.54), (-10.055,-4.24,-9.675,-3.34), (-9.395,-4.24,-9.015,-2.25), (-7.355,-4.24,-6.975,-2.25), (-13.075,-3.97,-12.695,-2.57), (-13.075,-3.97,-12.695,-2.57), (-10.055,-3.72,-5.63,-3.34), (-13.075,-3.57,-10.635,-2.97), (-13.075,-3.57,-10.635,-2.97)])
R(c_rrao_cic_bms_afe_iadc_tg__, dualgate, [(-11.45,-11.99,-10.16,-9.02), (-11.45,-11.99,-8.33,-8.2), (-11.435,-11.33,-10.145,-8.36), (-9.625,-8.2,-6.745,-7.82), (-10.145,-5.38,-9.245,-1.16), (-10.145,-5.38,-9.245,-1.16)])
R(c_rrao_cic_bms_afe_iadc_tg__, v5_xtor, [(-11.45,-11.99,-10.16,-9.02), (-11.435,-11.33,-10.145,-8.36), (-10.145,-5.38,-9.245,-1.16), (-10.145,-5.38,-9.245,-1.16)])
c_rrao_cic_bms_afe_iadc_tg__.add(gdstk.Reference(pfet_5_6, (-14.055,-5.25), x_reflection=True))
c_rrao_cic_bms_afe_iadc_tg__.add(gdstk.Reference(pfet_5_6, (-14.055,-4.27)))
c_rrao_cic_bms_afe_iadc_tg__.add(gdstk.Reference(nfet_6_9, (-13.495,-10.62)))
c_rrao_cic_bms_afe_iadc_tg__.add(gdstk.Reference(pfet_3_4_6, (-9.385,-7.2)))
c_rrao_cic_bms_afe_iadc_tg__.add(gdstk.Reference(pfet_3_4_6, (-8.365,-7.2)))
c_rrao_cic_bms_afe_iadc_tg__.add(gdstk.Reference(pfet_3_4_6, (-9.385,-4.26)))
c_rrao_cic_bms_afe_iadc_tg__.add(gdstk.Reference(pfet_3_4_6, (-8.365,-4.26)))
c_rrao_cic_bms_afe_iadc_tg__.add(gdstk.Reference(nfet_2_4_5, (-10.045,-10.84)))

adc1 = lib.new_cell('adc1')
R(adc1, nwell, [(-12.17,-2.79,-11.35,3.41), (-12.17,11.355,-11.35,17.555)])
R(adc1, metal1, [(-16.06,-3.68,-1.22,-3.18), (-1.6,-3.68,-1.22,18.285), (-2.26,-2.86,-1.88,-1.96), (-2.26,2.65,-1.88,3.55), (-19.45,7.13,-7.235,7.635), (-21.64,11.215,-21.26,19.605), (-21.64,11.215,-21.26,12.115), (-19.475,11.215,-18.575,11.595), (-2.92,11.215,-2.54,12.115), (-21.64,16.725,-21.26,17.625), (-2.92,16.725,-2.54,17.625), (-19.82,17.245,-18.92,17.625), (-16.06,17.945,-1.22,18.285), (-20.98,18.565,-2.54,18.945), (-3.44,18.565,-2.54,18.945), (-3.44,18.565,-2.54,18.945), (-2.26,18.705,-1.88,19.605), (-21.64,19.225,-1.88,19.605)])
R(adc1, via1, [(-2.2,-2.8,-1.94,-2.54), (-2.2,-2.28,-1.94,-2.02), (-2.2,2.71,-1.94,2.97), (-2.2,3.23,-1.94,3.49), (-21.58,11.275,-21.32,11.535), (-19.415,11.275,-19.155,11.535), (-18.895,11.275,-18.635,11.535), (-2.86,11.275,-2.6,11.535), (-21.58,11.795,-21.32,12.055), (-2.86,11.795,-2.6,12.055), (-21.58,16.785,-21.32,17.045), (-2.86,16.785,-2.6,17.045), (-21.58,17.305,-21.32,17.565), (-19.76,17.305,-19.5,17.565), (-19.24,17.305,-18.98,17.565), (-2.86,17.305,-2.6,17.565), (-3.38,18.625,-3.12,18.885), (-3.38,18.625,-3.12,18.885), (-2.86,18.625,-2.6,18.885), (-2.86,18.625,-2.6,18.885), (-2.2,18.765,-1.94,19.025), (-2.2,19.285,-1.94,19.545)])
R(adc1, metal2, [(-12.61,-5.905,-12.23,10.605), (-11.29,-5.585,-10.91,6.57), (-2.26,-2.86,-1.88,-1.96), (-2.26,-2.86,-1.88,19.855), (-2.26,2.65,-1.88,3.55), (-11.29,6.55,-10.91,10.225), (-21.64,11.215,-21.26,12.115), (-19.475,11.215,-18.575,11.595), (-2.92,11.215,-2.54,12.115), (-21.64,16.725,-21.26,17.625), (-2.92,16.725,-2.54,17.625), (-19.82,17.245,-18.92,17.625), (-3.44,18.565,-2.54,18.945), (-3.44,18.565,-2.54,18.945), (-2.26,18.705,-1.88,19.605)])
adc1.add(gdstk.Reference(rrao_cic_bms_afe_iadc_tg, (3.775,19.215)))
adc1.add(gdstk.Reference(c_rrao_cic_bms_afe_iadc_tg, (3.775,-4.45), x_reflection=True))
adc1.add(gdstk.Reference(c_rrao_cic_bms_afe_iadc_tg_, (-27.295,19.215), rotation=pi, x_reflection=True))
adc1.add(gdstk.Reference(c_rrao_cic_bms_afe_iadc_tg__, (-27.295,-4.45), rotation=pi))
adc1.add(gdstk.Label('AVDD', (-1.39,13.785), layer=34, texttype=10))
adc1.add(gdstk.Label('gf180mcu_gnd', (-19.28,7.375), layer=34, texttype=10))
adc1.add(gdstk.Label('out+', (-4.22,19.345), layer=34, texttype=10))
adc1.add(gdstk.Label('out-', (-4.195,18.73), layer=34, texttype=10))
adc1.add(gdstk.Label('PHI1', (-12.43,-4.94), layer=36, texttype=10))
adc1.add(gdstk.Label('PHI2', (-11.085,-4.79), layer=36, texttype=10))
adc1.add(gdstk.Label('in-', (-21.395,-0.91), layer=36, texttype=10))
adc1.add(gdstk.Label('in+', (-22.05,13.51), layer=36, texttype=10))

lib.write_gds('adc1.gds')
